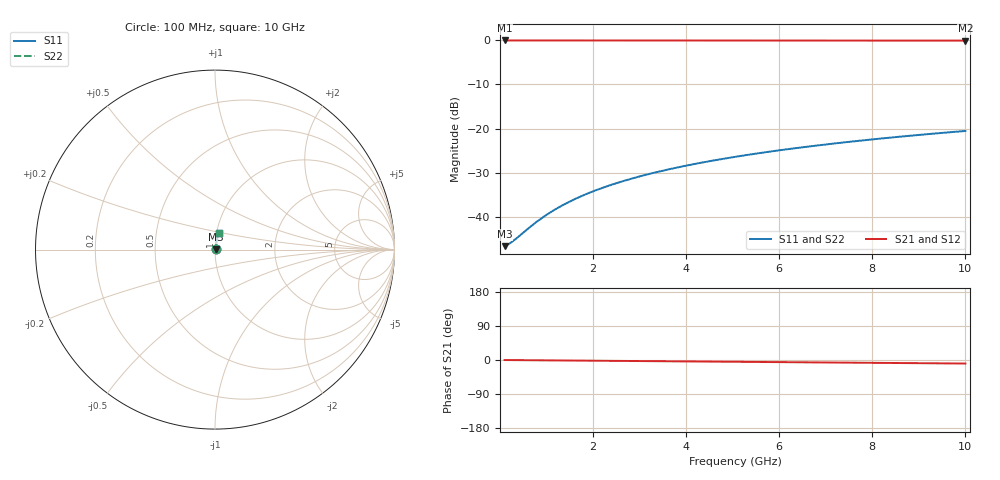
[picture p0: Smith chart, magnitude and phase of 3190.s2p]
# Hz S RI R 50.00
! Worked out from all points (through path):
!   100 points, 100 MHz to 10 GHz, reference 50 ohm
!   highest |S21| = -0.04 dB at 100 MHz (marker M1); lowest = -0.1 dB at 10 GHz (marker M2)
!   group delay of S21, straight-line fit = 2.59 ps
!   lowest |S11| = -46.6 dB at 100 MHz (marker M3), VSWR 1.01, Z = 50.5 + j0.0946 ohm
!   |S11| at or under -10 dB: start of sweep to end of sweep
!   |S22| runs from -46.6 to -20.5 dB; largest |S21 - S12| = 0
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1e8  0.00457 0.000937  0.9954 -0.00162  0.9954 -0.00162  0.00457 0.000937
2e8  0.00461 0.00187  0.9954 -0.00324  0.9954 -0.00324  0.00461 0.00187
3e8  0.00464 0.00281  0.9954 -0.00486  0.9954 -0.00486  0.00464 0.00281
7e8  0.00475 0.00656  0.9952 -0.0113  0.9952 -0.0113  0.00475 0.00656
8e8  0.00479 0.00749  0.9952 -0.013  0.9952 -0.013  0.00479 0.00749
1e9  0.00486 0.00937  0.9951 -0.0162  0.9951 -0.0162  0.00486 0.00937
1.2e9  0.00495 0.0112  0.995 -0.0194  0.995 -0.0194  0.00495 0.0112
1.4e9  0.00504 0.0131  0.9949 -0.0227  0.9949 -0.0227  0.00504 0.0131
1.6e9  0.00515 0.015  0.9948 -0.0259  0.9948 -0.0259  0.00515 0.015
1.8e9  0.00526 0.0168  0.9946 -0.0291  0.9946 -0.0291  0.00526 0.0168
2.1e9  0.00546 0.0197  0.9944 -0.034  0.9944 -0.034  0.00546 0.0197
2.5e9  0.00576 0.0234  0.9941 -0.0405  0.9941 -0.0405  0.00576 0.0234
2.9e9  0.00611 0.0271  0.9937 -0.0469  0.9937 -0.0469  0.00611 0.0271
3.4e9  0.00661 0.0318  0.9931 -0.055  0.9931 -0.055  0.00661 0.0318
3.8e9  0.00707 0.0355  0.9926 -0.0614  0.9926 -0.0614  0.00707 0.0355
4.2e9  0.00757 0.0392  0.992 -0.0679  0.992 -0.0679  0.00757 0.0392
5.1e9  0.00888 0.0475  0.9905 -0.0824  0.9905 -0.0824  0.00888 0.0475
5.9e9  0.0102 0.0549  0.9889 -0.0952  0.9889 -0.0952  0.0102 0.0549
6.7e9  0.0118 0.0622  0.9871 -0.108  0.9871 -0.108  0.0118 0.0622
7.5e9  0.0135 0.0695  0.9851 -0.1208  0.9851 -0.1208  0.0135 0.0695
8.4e9  0.0157 0.0776  0.9826 -0.1351  0.9826 -0.1351  0.0157 0.0776
1e10  0.0202 0.0919  0.9774 -0.1604  0.9774 -0.1604  0.0202 0.0919
